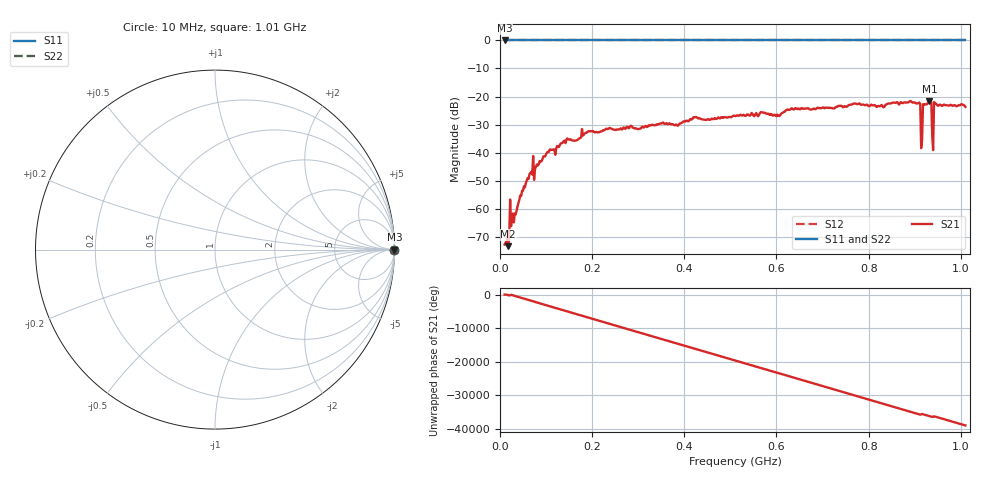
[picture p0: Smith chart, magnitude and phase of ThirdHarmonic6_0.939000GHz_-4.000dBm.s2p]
! 8/16/2025 6:33:19 AM
! C:\ANRITSUVNA\TEMP\TEMP.S2P
! CHANNEL.1
! TR.MEASUREMENT
! RAW.DATA
! RF.CORRECTION.OFF
! AVERAGING.OFF
! IF.BANDWIDTH: 5KHZ
! SWEEPTYPE:  FREQ.SWEEP(Linear)
! Reference Plane Port Info
! PORT:  PORT1  PORT2
! DISTANCE:  0  m  0  m
! TIME:  0  s  0  s
! PHASE.OFFSET:  0  deg.  0  deg.
! LOSS:  0  dB  0  dB
! REF.LOSS:  0  dB  0  dB
! REF.FREQ:  0  Hz  0  Hz
! Power Info
! POWER:  -20  dBm  -20  dBm
! EFF.POWER:  -20  dBm  -20  dBm
! SOURCE.ATTEN:  0  dB  0  dB
! TEST.ATTEN:  0  dB  0  dB
# GHZ S RI R 50.0
! FREQ.GHZ  S11RE  S11IM  S21RE  S21IM  S12RE  S12IM  S22RE  S22IM
!; PortSelection: Port_12
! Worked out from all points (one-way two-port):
!   501 points, 10 MHz to 1.01 GHz, reference 50 ohm
!   highest |S21| = -21.59 dB at 932 MHz (marker M1); lowest = -73.4 dB at 18 MHz (marker M2)
!   lowest |S11| = 0.0 dB at 10 MHz (marker M3)
!   |S11| at or under -10 dB: nowhere
!   |S22| runs from 0.0 to 0.0 dB; largest |S21 - S12| = 1.1
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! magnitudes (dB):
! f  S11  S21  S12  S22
! 10 MHz  0.0  -72.8  0.0  0.0
! 16 MHz  0.0  -70.1  0.0  0.0
! 18 MHz  0.0  -73.4  0.0  0.0
! 26 MHz  0.0  -62.8  0.0  0.0
! 34 MHz  0.0  -62.1  0.0  0.0
! 68 MHz  0.0  -46.8  0.0  0.0
! 78 MHz  0.0  -45.1  0.0  0.0
! 106 MHz  0.0  -39.8  0.0  0.0
! 178 MHz  0.0  -31.6  0.0  0.0
! 344 MHz  0.0  -29.9  0.0  0.0
! 510 MHz  0.0  -26.9  0.0  0.0
! 678 MHz  0.0  -24.5  0.0  0.0
! 844 MHz  0.0  -22.5  0.0  0.0
! 908 MHz  0.0  -22.3  0.0  0.0
! 912 MHz  0.0  -22.6  0.0  0.0
! 918 MHz  0.0  -22.7  0.0  0.0
! 922 MHz  0.0  -22.8  0.0  0.0
! 932 MHz  0.0  -21.6  0.0  0.0
! 936 MHz  0.0  -22.0  0.0  0.0
! 942 MHz  0.0  -22.0  0.0  0.0
! 946 MHz  0.0  -22.5  0.0  0.0
! 1.01 GHz  0.0  -23.7  0.0  0.0
